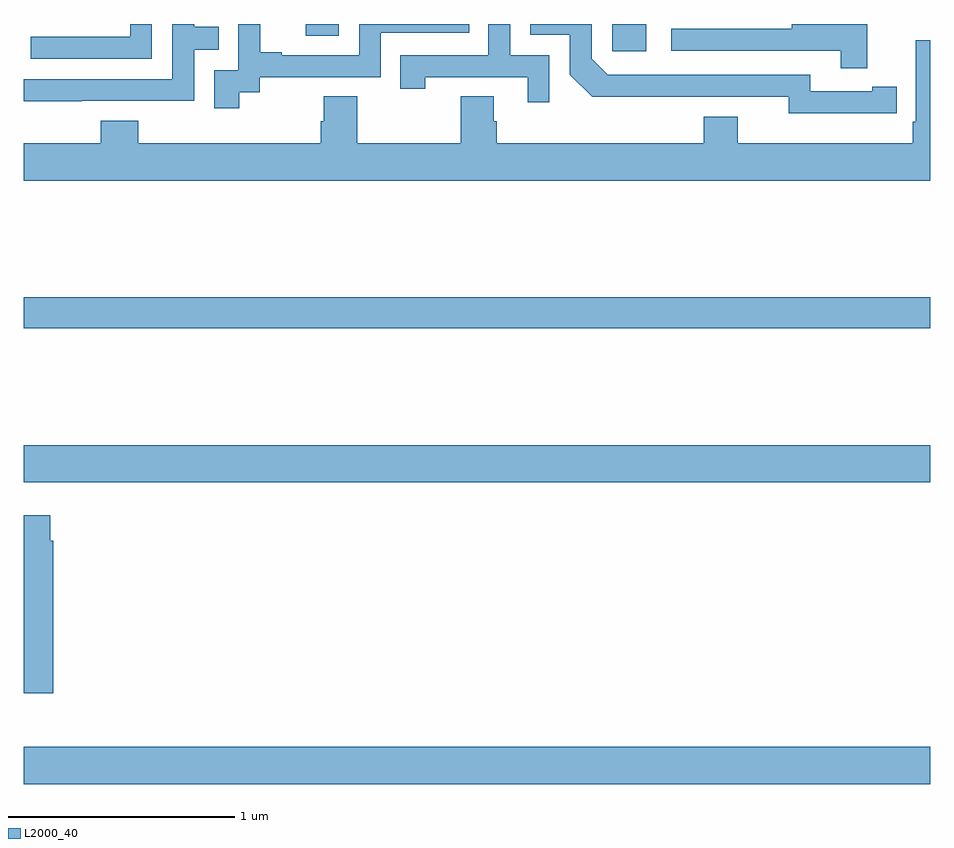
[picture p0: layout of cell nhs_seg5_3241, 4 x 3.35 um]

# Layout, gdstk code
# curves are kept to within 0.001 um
import gdstk
lib = gdstk.Library(unit=1e-6, precision=1e-09)
def R(c, l, rs):  # rectangles x0, y0, x1, y1
    for r in rs: c.add(gdstk.rectangle(r[:2], r[2:], *l))
def P(c, l, *ps):  # polygons
    for p in ps: c.add(gdstk.Polygon(p, *l))
L2000_40 = (2000, 40)

nhs_seg5_3241 = lib.new_cell('nhs_seg5_3241')
R(nhs_seg5_3241, L2000_40, [(299,839.444,303,839.608), (299,840.776,303,840.94), (299,841.456,303,841.592), (301.596,842.679,301.747,842.799), (300.243,842.748,300.39,842.799)])
P(nhs_seg5_3241, L2000_40, [(302.744,842.406),(302.852,842.406),(302.852,842.522),(302.744,842.522),(302.744,842.502),(302.472,842.502),(302.472,842.574),(301.578,842.574),(301.506,842.646),(301.506,842.799),(301.236,842.799),(301.236,842.751),(301.41,842.751),(301.41,842.574),(301.508,842.477),(302.376,842.478),(302.376,842.405)],
  [(302.723,842.799),(302.613,842.799),(302.613,842.798),(302.389,842.798),(302.389,842.778),(301.857,842.778),(301.857,842.682),(302.605,842.682),(302.605,842.604),(302.723,842.604)],
  [(299.95,842.497),(300.042,842.497),(300.042,842.565),(300.576,842.565),(300.576,842.76),(300.965,842.76),(300.965,842.799),(300.48,842.799),(300.48,842.661),(300.139,842.661),(300.139,842.674),(300.044,842.674),(300.044,842.799),(299.946,842.799),(299.946,842.595),(299.841,842.595),(299.841,842.427),(299.95,842.427)],
  [(299.255,842.46),(299.751,842.46),(299.751,842.685),(299.861,842.685),(299.861,842.786),(299.751,842.786),(299.751,842.799),(299.655,842.799),(299.655,842.556),(299,842.556),(299,842.459),(299.255,842.459)],
  [(301.32,842.661),(301.146,842.661),(301.146,842.799),(301.05,842.799),(301.05,842.661),(300.661,842.661),(300.661,842.514),(300.772,842.514),(300.772,842.565),(301.223,842.565),(301.223,842.454),(301.32,842.454)],
  [(299.565,842.799),(299.469,842.799),(299.469,842.742),(299.031,842.742),(299.031,842.646),(299.565,842.646)],
  [(303,842.728),(302.937,842.728),(302.937,842.368),(302.924,842.368),(302.924,842.272),(302.152,842.272),(302.152,842.389),(302,842.389),(302,842.272),(301.088,842.272),(301.088,842.37),(301.075,842.37),(301.075,842.48),(300.928,842.48),(300.928,842.272),(300.471,842.272),(300.471,842.48),(300.323,842.48),(300.323,842.37),(300.311,842.37),(300.311,842.272),(299.504,842.272),(299.504,842.371),(299.339,842.371),(299.339,842.272),(299,842.272),(299,842.108),(303,842.108)],
  [(299.129,840.518),(299.116,840.518),(299.116,840.631),(299,840.631),(299,839.844),(299.129,839.844)])

lib.write_gds('nhs_seg5_3241.gds')
